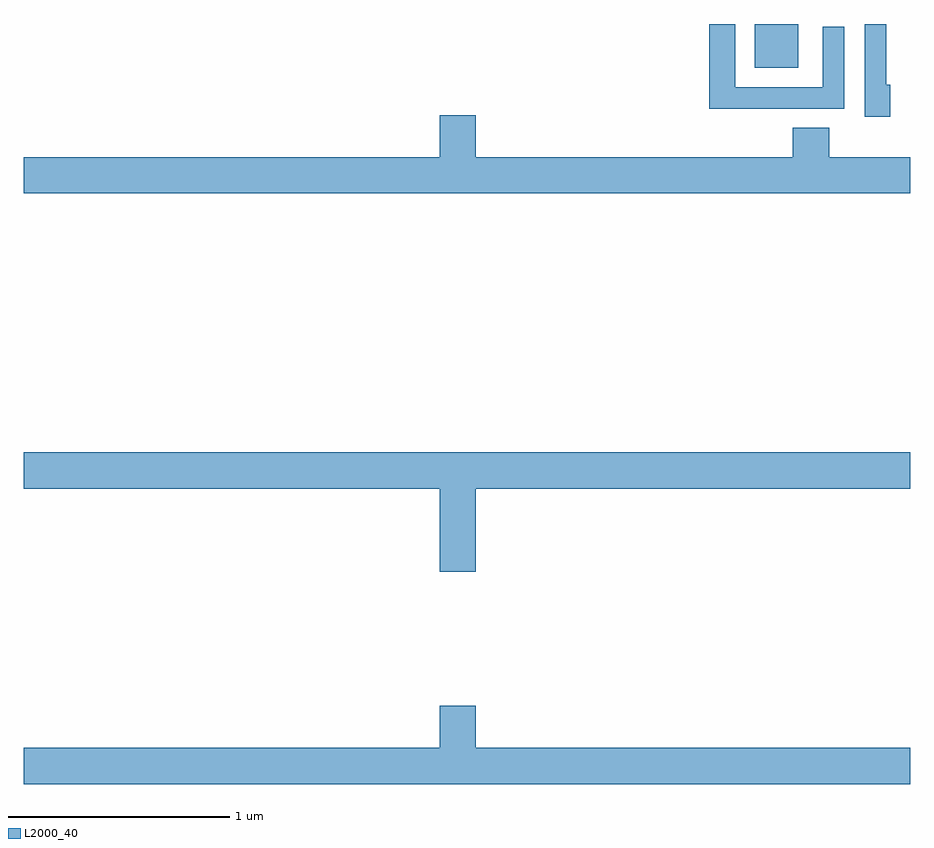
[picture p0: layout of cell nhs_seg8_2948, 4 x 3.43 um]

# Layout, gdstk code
import gdstk
lib = gdstk.Library(unit=1e-6, precision=1e-09)
def R(c, l, rs):  # rectangles x0, y0, x1, y1
    for r in rs: c.add(gdstk.rectangle(r[:2], r[2:], *l))
def P(c, l, *ps):  # polygons
    for p in ps: c.add(gdstk.Polygon(p, *l))
L2000_40 = (2000, 40)

nhs_seg8_2948 = lib.new_cell('nhs_seg8_2948')
R(nhs_seg8_2948, L2000_40, [(298.298,1147.703,298.495,1147.9)])
P(nhs_seg8_2948, L2000_40, [(298.909,1147.626),(298.89,1147.626),(298.89,1147.9),(298.794,1147.9),(298.794,1147.482),(298.909,1147.482)],
  [(298.385,1147.518),(298.701,1147.518),(298.701,1147.888),(298.605,1147.888),(298.605,1147.614),(298.209,1147.614),(298.209,1147.9),(298.093,1147.9),(298.093,1147.517),(298.385,1147.517)],
  [(299,1147.3),(298.634,1147.3),(298.634,1147.433),(298.469,1147.433),(298.469,1147.3),(297.04,1147.3),(297.04,1147.489),(296.876,1147.489),(296.876,1147.3),(295,1147.3),(295,1147.136),(299,1147.136)],
  [(297.04,1145.804),(299,1145.804),(299,1145.968),(295,1145.968),(295,1145.804),(296.876,1145.804),(296.876,1145.43),(297.04,1145.43)],
  [(299,1144.636),(297.04,1144.636),(297.04,1144.825),(296.876,1144.825),(296.876,1144.636),(295,1144.636),(295,1144.472),(299,1144.472)])

lib.write_gds('nhs_seg8_2948.gds')
